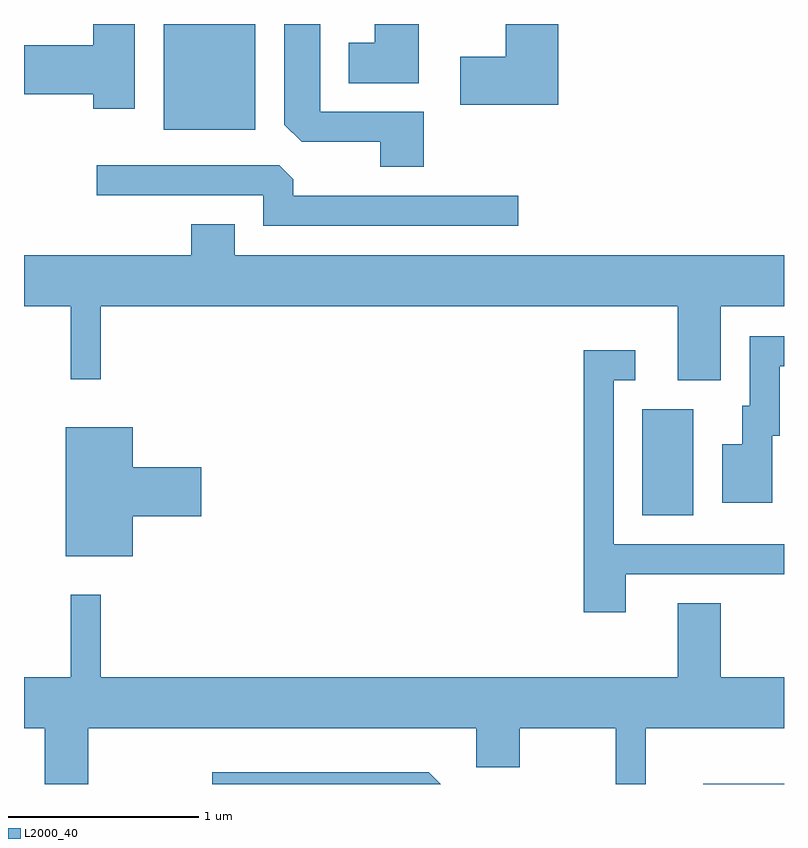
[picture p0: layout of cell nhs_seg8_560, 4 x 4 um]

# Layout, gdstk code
import gdstk
lib = gdstk.Library(unit=1e-6, precision=1e-09)
def R(c, l, rs):  # rectangles x0, y0, x1, y1
    for r in rs: c.add(gdstk.rectangle(r[:2], r[2:], *l))
def P(c, l, *ps):  # polygons
    for p in ps: c.add(gdstk.Polygon(p, *l))
L2000_40 = (2000, 40)

nhs_seg8_560 = lib.new_cell('nhs_seg8_560')
R(nhs_seg8_560, L2000_40, [(205.186,1838.342,205.611,1838.344), (204.866,1839.756,205.134,1840.314), (202.346,1841.786,202.829,1842.342)])
P(nhs_seg8_560, L2000_40, [(204.424,1842.342),(204.146,1842.342),(204.146,1842.169),(203.906,1842.169),(203.906,1841.916),(204.424,1841.916)],
  [(203.689,1842.342),(203.456,1842.342),(203.456,1842.244),(203.321,1842.244),(203.321,1842.031),(203.689,1842.031)],
  [(203.714,1841.879),(203.169,1841.879),(203.169,1842.342),(202.981,1842.342),(202.981,1841.812),(203.072,1841.721),(203.486,1841.721),(203.486,1841.591),(203.714,1841.591)],
  [(202.194,1842.342),(201.976,1842.342),(201.976,1842.229),(201.611,1842.229),(201.611,1841.971),(201.976,1841.971),(201.976,1841.896),(202.194,1841.896)],
  [(204.213,1841.439),(203.029,1841.439),(203.029,1841.524),(202.954,1841.599),(201.993,1841.599),(201.993,1841.441),(202.871,1841.441),(202.871,1841.281),(204.213,1841.281)],
  [(205.279,1840.856),(205.611,1840.856),(205.611,1841.124),(202.719,1841.124),(202.719,1841.289),(202.491,1841.289),(202.491,1841.124),(201.611,1841.124),(201.611,1840.856),(201.856,1840.856),(201.856,1840.473),(202.014,1840.473),(202.014,1840.856),(205.051,1840.856),(205.051,1840.466),(205.279,1840.466)],
  [(205.549,1840.176),(205.589,1840.176),(205.589,1840.541),(205.611,1840.541),(205.611,1840.699),(205.431,1840.699),(205.431,1840.334),(205.391,1840.334),(205.391,1840.129),(205.286,1840.129),(205.286,1839.821),(205.549,1839.821)],
  [(204.779,1839.446),(205.611,1839.446),(205.611,1839.604),(204.714,1839.604),(204.714,1840.466),(204.828,1840.466),(204.828,1840.624),(204.556,1840.624),(204.556,1839.246),(204.779,1839.246)],
  [(202.184,1839.751),(202.544,1839.751),(202.544,1840.009),(202.184,1840.009),(202.184,1840.219),(201.831,1840.219),(201.831,1839.541),(202.184,1839.541)],
  [(201.949,1838.636),(203.991,1838.636),(203.991,1838.431),(204.219,1838.431),(204.219,1838.636),(204.726,1838.636),(204.726,1838.342),(204.884,1838.342),(204.884,1838.636),(205.611,1838.636),(205.611,1838.904),(205.279,1838.904),(205.279,1839.294),(205.051,1839.294),(205.051,1838.904),(202.014,1838.904),(202.014,1839.338),(201.856,1839.338),(201.856,1838.904),(201.611,1838.904),(201.611,1838.636),(201.721,1838.636),(201.721,1838.342),(201.949,1838.342)],
  [(203.742,1838.404),(202.603,1838.404),(202.603,1838.342),(203.804,1838.342)])

lib.write_gds('nhs_seg8_560.gds')
